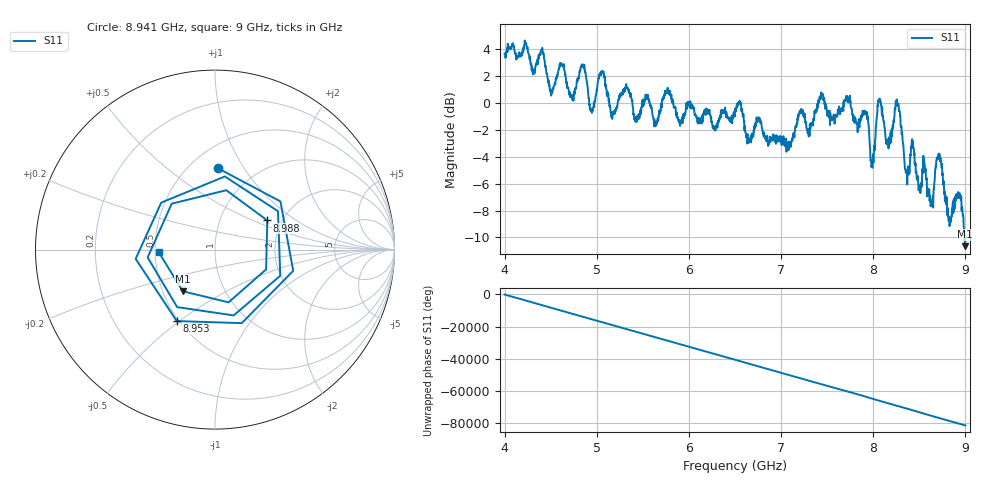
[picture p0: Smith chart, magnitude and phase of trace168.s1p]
! Created with skrf 1.8.0 (http://scikit-rf.org).
# Hz S RI R 50.0
!freq ReS11 ImS11
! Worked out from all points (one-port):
!   1601 points, 4 GHz to 9 GHz, reference 50 ohm
!   lowest |S11| = -10.7 dB at 8.997 GHz (marker M1), VSWR 1.83, Z = 31.6 - j16.1 ohm
!   |S11| at or under -10 dB: 8.989815 GHz to end of sweep
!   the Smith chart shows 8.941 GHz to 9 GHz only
!   S11 on the Smith chart (normalised r, x): 8.941 GHz: 0.68, +0.77; 8.953 GHz: 0.49, -0.49; 8.988 GHz: 1.68, +0.61; 9 GHz: 0.52, -0.02
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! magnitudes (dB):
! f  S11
! 4 GHz  3.6
! 4.4 GHz  3.8
! 4.512 GHz  0.8
! 4.625 GHz  2.8
! 4.725 GHz  0.6
! 4.853 GHz  2.9
! 4.944 GHz  -0.7
! 5.05 GHz  2.3
! 5.25 GHz  0.7
! 5.875 GHz  -1.0
! 6.5 GHz  -0.7
! 7.125 GHz  -2.7
! 7.75 GHz  0.1
! 7.925 GHz  -0.8
! 7.991 GHz  -4.8
! 8.062 GHz  0.2
! 8.159 GHz  -3.0
! 8.266 GHz  -0.2
! 8.375 GHz  -5.2
! 8.428 GHz  -3.2
! 8.634 GHz  -7.5
! 8.709 GHz  -3.8
! 8.828 GHz  -9.2
! 8.941 GHz  -6.9
! 8.953 GHz  -6.9
! 8.988 GHz  -9.5
! 8.997 GHz  -10.7
! 9 GHz  -10.1
